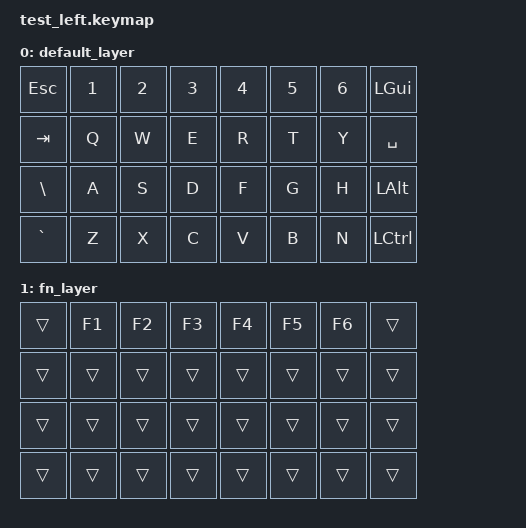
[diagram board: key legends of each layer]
#include <behaviors.dtsi>
#include <dt-bindings/zmk/keys.h>
#include <dt-bindings/zmk/bt.h>

/ {
        keymap {
                compatible = "zmk,keymap";

                default_layer {
                        bindings = <
                        &kp ESC    &kp N1        &kp N2        &kp N3        &kp N4  &kp N5  &kp N6  &kp LGUI
                        &kp TAB    &kp Q         &kp W         &kp E         &kp R   &kp T   &kp Y   &kp SPACE
                        &kp BSLH   &kp A         &kp S         &kp D         &kp F   &kp G   &kp H   &kp LALT
                        &kp GRAVE  &kp Z         &kp X         &kp C         &kp V   &kp B   &kp N   &kp LCTRL
                        >;
                };

                fn_layer {
                        bindings = <
                        &trans     &kp F1        &kp F2        &kp F3        &kp F4  &kp F5  &kp F6     &trans
                        &trans     &trans        &trans        &trans        &trans   &trans   &trans   &trans
                        &trans     &trans        &trans        &trans        &trans   &trans   &trans   &trans
                        &trans     &trans        &trans        &trans        &trans   &trans   &trans   &trans
                        >;
                };
        };
};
